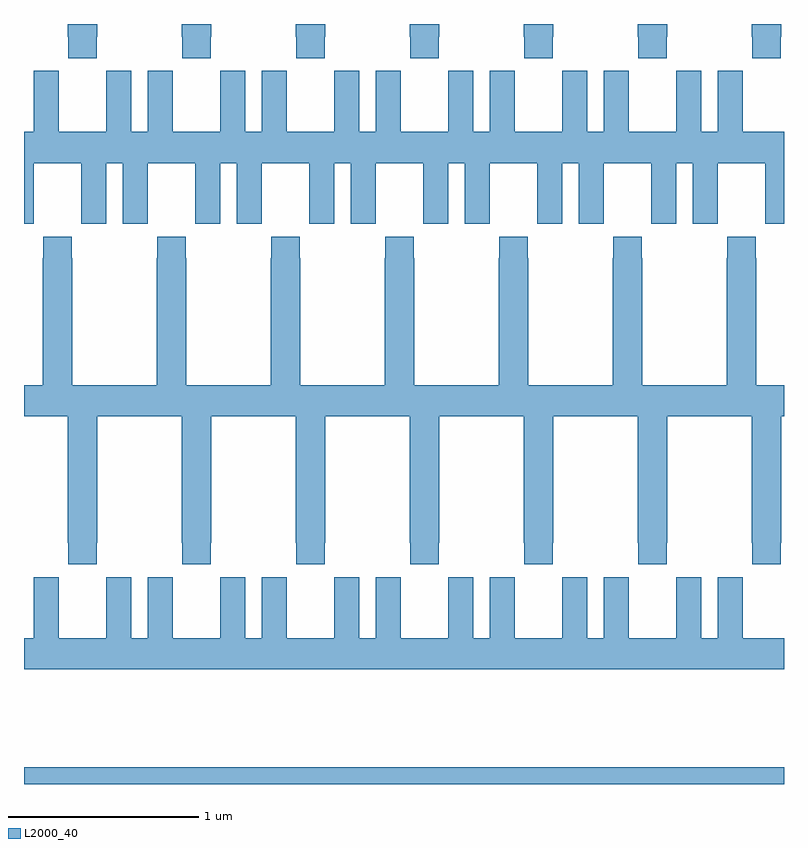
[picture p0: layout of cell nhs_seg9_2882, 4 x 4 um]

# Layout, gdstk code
import gdstk
lib = gdstk.Library(unit=1e-6, precision=1e-09)
def R(c, l, rs):  # rectangles x0, y0, x1, y1
    for r in rs: c.add(gdstk.rectangle(r[:2], r[2:], *l))
def P(c, l, *ps):  # polygons
    for p in ps: c.add(gdstk.Polygon(p, *l))
L2000_40 = (2000, 40)

nhs_seg9_2882 = lib.new_cell('nhs_seg9_2882')
R(nhs_seg9_2882, L2000_40, [(277,1178.5,281,1178.588)])
P(nhs_seg9_2882, L2000_40, [(277.231,1182.433),(277.233,1182.433),(277.233,1182.321),(277.383,1182.321),(277.383,1182.433),(277.386,1182.433),(277.386,1182.5),(277.231,1182.5)],
  [(277.983,1182.433),(277.986,1182.433),(277.986,1182.5),(277.831,1182.5),(277.831,1182.433),(277.833,1182.433),(277.833,1182.321),(277.983,1182.321)],
  [(278.583,1182.433),(278.586,1182.433),(278.586,1182.5),(278.431,1182.5),(278.431,1182.433),(278.433,1182.433),(278.433,1182.321),(278.583,1182.321)],
  [(279.183,1182.433),(279.186,1182.433),(279.186,1182.5),(279.031,1182.5),(279.031,1182.433),(279.033,1182.433),(279.033,1182.321),(279.183,1182.321)],
  [(279.783,1182.433),(279.786,1182.433),(279.786,1182.5),(279.631,1182.5),(279.631,1182.433),(279.633,1182.433),(279.633,1182.321),(279.783,1182.321)],
  [(280.383,1182.433),(280.386,1182.433),(280.386,1182.5),(280.231,1182.5),(280.231,1182.433),(280.233,1182.433),(280.233,1182.321),(280.383,1182.321)],
  [(280.983,1182.433),(280.986,1182.433),(280.986,1182.5),(280.831,1182.5),(280.831,1182.433),(280.833,1182.433),(280.833,1182.321),(280.983,1182.321)],
  [(277.05,1181.56),(277.051,1181.56),(277.051,1181.768),(277.301,1181.768),(277.301,1181.56),(277.302,1181.56),(277.302,1181.448),(277.432,1181.448),(277.432,1181.768),(277.52,1181.768),(277.52,1181.448),(277.65,1181.448),(277.65,1181.56),(277.651,1181.56),(277.651,1181.768),(277.901,1181.768),(277.901,1181.56),(277.902,1181.56),(277.902,1181.448),(278.032,1181.448),(278.032,1181.768),(278.12,1181.768),(278.12,1181.448),(278.25,1181.448),(278.25,1181.56),(278.251,1181.56),(278.251,1181.768),(278.501,1181.768),(278.501,1181.56),(278.502,1181.56),(278.502,1181.448),(278.632,1181.448),(278.632,1181.768),(278.72,1181.768),(278.72,1181.448),(278.85,1181.448),(278.85,1181.56),(278.851,1181.56),(278.851,1181.768),(279.101,1181.768),(279.101,1181.56),(279.102,1181.56),(279.102,1181.448),(279.232,1181.448),(279.232,1181.768),(279.32,1181.768),(279.32,1181.448),(279.45,1181.448),(279.45,1181.56),(279.451,1181.56),(279.451,1181.768),(279.701,1181.768),(279.701,1181.56),(279.702,1181.56),(279.702,1181.448),(279.832,1181.448),(279.832,1181.768),(279.92,1181.768),(279.92,1181.448),(280.05,1181.448),(280.05,1181.56),(280.051,1181.56),(280.051,1181.768),(280.301,1181.768),(280.301,1181.56),(280.302,1181.56),(280.302,1181.448),(280.432,1181.448),(280.432,1181.768),(280.52,1181.768),(280.52,1181.448),(280.65,1181.448),(280.65,1181.56),(280.651,1181.56),(280.651,1181.768),(280.901,1181.768),(280.901,1181.56),(280.902,1181.56),(280.902,1181.448),(281,1181.448),(281,1181.932),(280.783,1181.932),(280.783,1182.14),(280.782,1182.14),(280.782,1182.253),(280.652,1182.253),(280.652,1181.932),(280.564,1181.932),(280.564,1182.253),(280.434,1182.253),(280.434,1182.14),(280.433,1182.14),(280.433,1181.932),(280.183,1181.932),(280.183,1182.14),(280.182,1182.14),(280.182,1182.253),(280.052,1182.253),(280.052,1181.932),(279.964,1181.932),(279.964,1182.253),(279.834,1182.253),(279.834,1182.14),(279.833,1182.14),(279.833,1181.932),(279.583,1181.932),(279.583,1182.14),(279.582,1182.14),(279.582,1182.253),(279.452,1182.253),(279.452,1181.932),(279.364,1181.932),(279.364,1182.253),(279.234,1182.253),(279.234,1182.14),(279.233,1182.14),(279.233,1181.932),(278.983,1181.932),(278.983,1182.14),(278.982,1182.14),(278.982,1182.253),(278.852,1182.253),(278.852,1181.932),(278.764,1181.932),(278.764,1182.253),(278.634,1182.253),(278.634,1182.14),(278.633,1182.14),(278.633,1181.932),(278.383,1181.932),(278.383,1182.14),(278.382,1182.14),(278.382,1182.253),(278.252,1182.253),(278.252,1181.932),(278.164,1181.932),(278.164,1182.253),(278.034,1182.253),(278.034,1182.14),(278.033,1182.14),(278.033,1181.932),(277.783,1181.932),(277.783,1182.14),(277.782,1182.14),(277.782,1182.253),(277.652,1182.253),(277.652,1181.932),(277.564,1181.932),(277.564,1182.253),(277.434,1182.253),(277.434,1182.14),(277.433,1182.14),(277.433,1181.932),(277.183,1181.932),(277.183,1182.14),(277.182,1182.14),(277.182,1182.253),(277.052,1182.253),(277.052,1181.932),(277,1181.932),(277,1181.448),(277.05,1181.448)],
  [(278.454,1181.267),(278.451,1181.267),(278.451,1181.38),(278.301,1181.38),(278.301,1181.267),(278.299,1181.267),(278.299,1180.6),(277.854,1180.6),(277.854,1181.267),(277.851,1181.267),(277.851,1181.38),(277.701,1181.38),(277.701,1181.267),(277.699,1181.267),(277.699,1180.6),(277.254,1180.6),(277.254,1181.267),(277.251,1181.267),(277.251,1181.38),(277.101,1181.38),(277.101,1181.267),(277.099,1181.267),(277.099,1180.6),(277,1180.6),(277,1180.436),(277.231,1180.436),(277.231,1179.769),(277.233,1179.769),(277.233,1179.657),(277.383,1179.657),(277.383,1179.769),(277.386,1179.769),(277.386,1180.436),(277.831,1180.436),(277.831,1179.769),(277.833,1179.769),(277.833,1179.657),(277.983,1179.657),(277.983,1179.769),(277.986,1179.769),(277.986,1180.436),(278.431,1180.436),(278.431,1179.769),(278.433,1179.769),(278.433,1179.657),(278.583,1179.657),(278.583,1179.769),(278.586,1179.769),(278.586,1180.436),(279.031,1180.436),(279.031,1179.769),(279.033,1179.769),(279.033,1179.657),(279.183,1179.657),(279.183,1179.769),(279.186,1179.769),(279.186,1180.436),(279.631,1180.436),(279.631,1179.769),(279.633,1179.769),(279.633,1179.657),(279.783,1179.657),(279.783,1179.769),(279.786,1179.769),(279.786,1180.436),(280.231,1180.436),(280.231,1179.769),(280.233,1179.769),(280.233,1179.657),(280.383,1179.657),(280.383,1179.769),(280.386,1179.769),(280.386,1180.436),(280.831,1180.436),(280.831,1179.769),(280.833,1179.769),(280.833,1179.657),(280.983,1179.657),(280.983,1179.769),(280.986,1179.769),(280.986,1180.436),(281,1180.436),(281,1180.6),(280.854,1180.6),(280.854,1181.267),(280.851,1181.267),(280.851,1181.38),(280.701,1181.38),(280.701,1181.267),(280.699,1181.267),(280.699,1180.6),(280.254,1180.6),(280.254,1181.267),(280.251,1181.267),(280.251,1181.38),(280.101,1181.38),(280.101,1181.267),(280.099,1181.267),(280.099,1180.6),(279.654,1180.6),(279.654,1181.267),(279.651,1181.267),(279.651,1181.38),(279.501,1181.38),(279.501,1181.267),(279.499,1181.267),(279.499,1180.6),(279.054,1180.6),(279.054,1181.267),(279.051,1181.267),(279.051,1181.38),(278.901,1181.38),(278.901,1181.267),(278.899,1181.267),(278.899,1180.6),(278.454,1180.6)],
  [(281,1179.268),(280.783,1179.268),(280.783,1179.476),(280.782,1179.476),(280.782,1179.589),(280.652,1179.589),(280.652,1179.268),(280.564,1179.268),(280.564,1179.589),(280.434,1179.589),(280.434,1179.476),(280.433,1179.476),(280.433,1179.268),(280.183,1179.268),(280.183,1179.476),(280.182,1179.476),(280.182,1179.589),(280.052,1179.589),(280.052,1179.268),(279.964,1179.268),(279.964,1179.589),(279.834,1179.589),(279.834,1179.476),(279.833,1179.476),(279.833,1179.268),(279.583,1179.268),(279.583,1179.476),(279.582,1179.476),(279.582,1179.589),(279.452,1179.589),(279.452,1179.268),(279.364,1179.268),(279.364,1179.589),(279.234,1179.589),(279.234,1179.476),(279.233,1179.476),(279.233,1179.268),(278.983,1179.268),(278.983,1179.476),(278.982,1179.476),(278.982,1179.589),(278.852,1179.589),(278.852,1179.268),(278.764,1179.268),(278.764,1179.589),(278.634,1179.589),(278.634,1179.476),(278.633,1179.476),(278.633,1179.268),(278.383,1179.268),(278.383,1179.476),(278.382,1179.476),(278.382,1179.589),(278.252,1179.589),(278.252,1179.268),(278.164,1179.268),(278.164,1179.589),(278.034,1179.589),(278.034,1179.476),(278.033,1179.476),(278.033,1179.268),(277.783,1179.268),(277.783,1179.476),(277.782,1179.476),(277.782,1179.589),(277.652,1179.589),(277.652,1179.268),(277.564,1179.268),(277.564,1179.589),(277.434,1179.589),(277.434,1179.476),(277.433,1179.476),(277.433,1179.268),(277.183,1179.268),(277.183,1179.476),(277.182,1179.476),(277.182,1179.589),(277.052,1179.589),(277.052,1179.268),(277,1179.268),(277,1179.104),(281,1179.104)])

lib.write_gds('nhs_seg9_2882.gds')
